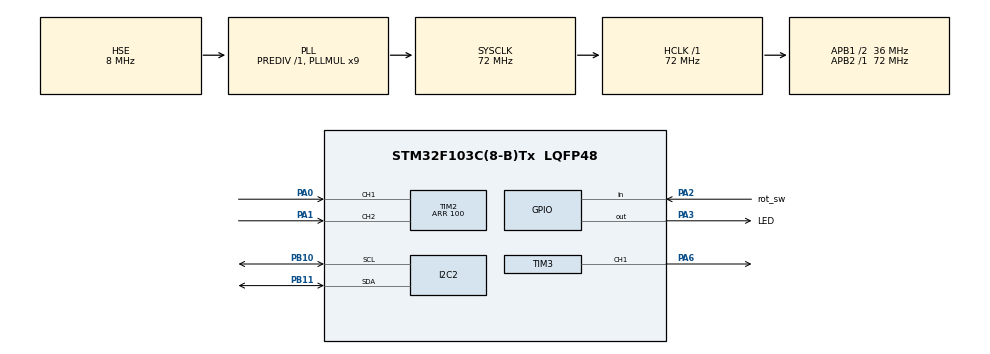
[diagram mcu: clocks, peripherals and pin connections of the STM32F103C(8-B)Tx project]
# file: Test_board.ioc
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I2C2.I2C_Mode=I2C_Fast
Mcu.Family=STM32F1
Mcu.Name=STM32F103C(8-B)Tx
Mcu.Package=LQFP48
NVIC.PriorityGroup=NVIC_PRIORITYGROUP_4
PA0-WKUP.GPIO_PuPd=GPIO_PULLUP
PA0-WKUP.Signal=S_TIM2_CH1_ETR
PA1.GPIO_PuPd=GPIO_PULLUP
PA1.Signal=S_TIM2_CH2
PA2.GPIO_Label=rot_sw
PA2.Signal=GPIO_Input
PA3.GPIO_Label=LED
PA3.Signal=GPIO_Output
PA6.Signal=S_TIM3_CH1
PB10.Mode=I2C
PB10.Signal=I2C2_SCL
PB11.Mode=I2C
PB11.Signal=I2C2_SDA
PD0-OSC_IN.Mode=HSE-External-Oscillator
PD0-OSC_IN.Signal=RCC_OSC_IN
PD1-OSC_OUT.Mode=HSE-External-Oscillator
PD1-OSC_OUT.Signal=RCC_OSC_OUT
ProjectManager.HeapSize=0x200
ProjectManager.StackSize=0x400
ProjectManager.TargetToolchain=STM32CubeIDE
RCC.AHBFreq_Value=72000000
RCC.APB1CLKDivider=RCC_HCLK_DIV2
RCC.APB1Freq_Value=36000000
RCC.APB1TimFreq_Value=72000000
RCC.APB2Freq_Value=72000000
RCC.APB2TimFreq_Value=72000000
RCC.HCLKFreq_Value=72000000
RCC.PLLMUL=RCC_PLL_MUL9
RCC.PLLSourceVirtual=RCC_PLLSOURCE_HSE
RCC.SYSCLKFreq_VALUE=72000000
RCC.SYSCLKSource=RCC_SYSCLKSOURCE_PLLCLK
RCC.USBFreq_Value=72000000
SH.S_TIM2_CH1_ETR.0=TIM2_CH1,Encoder_Interface
SH.S_TIM2_CH2.0=TIM2_CH2,Encoder_Interface
SH.S_TIM3_CH1.0=TIM3_CH1,PWM Generation1 CH1
TIM1.Prescaler=63
TIM2.IC1Filter=15
TIM2.IC2Filter=15
TIM2.Period=100
TIM3.Channel-PWM\ Generation1\ CH1=TIM_CHANNEL_1
TIM3.Period=100
TIM3.Prescaler=72
VP_TIM1_VS_ClockSourceINT.Mode=Internal
board=custom

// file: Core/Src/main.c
/* USER CODE BEGIN Header */
/**
  ******************************************************************************
  * @file           : main.c
  * @brief          : Main program body
  ******************************************************************************
  * @attention
  *
  * Copyright (c) 2023 STMicroelectronics.
  * All rights reserved.
  *
  * This software is licensed under terms that can be found in the LICENSE file
  * in the root directory of this software component.
  * If no LICENSE file comes with this software, it is provided AS-IS.
  *
  ******************************************************************************
  */
/* USER CODE END Header */
#include "main.h"

/* USER CODE BEGIN Includes */

#include "string.h"
#include <stdio.h>
#include "ssd1306.h"
#include "fonts.h"
#include "test.h"
/* USER CODE END Includes */

I2C_HandleTypeDef hi2c2;

TIM_HandleTypeDef htim1;
TIM_HandleTypeDef htim2;
TIM_HandleTypeDef htim3;

void SystemClock_Config(void);
static void MX_GPIO_Init(void);
static void MX_I2C2_Init(void);
static void MX_TIM2_Init(void);
static void MX_TIM1_Init(void);
static void MX_TIM3_Init(void);
/* USER CODE BEGIN PFP */
void MX_I2C2_Init(void);
/* USER CODE END PFP */

/* USER CODE BEGIN 0 */
float temperature;
char string[64];
/* USER CODE END 0 */

int main(void)
{
  /* USER CODE BEGIN 1 */
	uint16_t LED_DutyCycle = 0;
  /* USER CODE END 1 */

  /* MCU Configuration--------------------------------------------------------*/

  /* Reset of all peripherals, Initializes the Flash interface and the Systick. */
  HAL_Init();

  /* Configure the system clock */
  SystemClock_Config();

  /* Initialize all configured peripherals */
  MX_GPIO_Init();
  MX_I2C2_Init();
  MX_TIM2_Init();
  MX_TIM1_Init();
  MX_TIM3_Init();
  /* USER CODE BEGIN 2 */
  HAL_TIM_Encoder_Start(&htim2, TIM_CHANNEL_ALL);
  HAL_TIM_PWM_Start(&htim3, TIM_CHANNEL_1);

  SSD1306_Init (); // initialize the display

  char string[5];
  int num = 0, pastI = 0;

     SSD1306_GotoXY (0,0);
     SSD1306_Puts ("SSD1306", &Font_11x18, 1);
     SSD1306_GotoXY (0, 30);
     SSD1306_Puts ("OLED DEMO", &Font_11x18, 1);
     SSD1306_UpdateScreen();
     HAL_Delay (1000);

     SSD1306_ScrollRight(0,5);
     HAL_Delay(3000);
     SSD1306_ScrollLeft(0,5);
     HAL_Delay(3000);
     SSD1306_Stopscroll();
     SSD1306_Clear();

  /* USER CODE END 2 */

  /* Infinite loop */
  /* USER CODE BEGIN WHILE */
  while (1)
  {
	  LED_DutyCycle = (TIM2->CNT);
	  TIM3->CCR1 = LED_DutyCycle;
	  if(num != pastI)
  		{

  			itoa(num,string, 10);
  			SSD1306_GotoXY (0, 30);
  			SSD1306_Puts ("             ", &Font_16x26, 1);
  			SSD1306_UpdateScreen();
  			if(num<10) {
  				SSD1306_GotoXY (53, 30);  // 1 DIGIT
  			}
  			else if (num<100) {
  				SSD1306_GotoXY (45, 30);  // 2 DIGITS
  			}
  			else  {
  				SSD1306_GotoXY (37, 30);  // 3 DIGITS
  			}
  			SSD1306_Puts (string, &Font_16x26, 1);
  			SSD1306_UpdateScreen();
//	  			HAL_Delay (500);
  		}
	  pastI = num;
	  num = TIM2->CNT;

	  if(HAL_GPIO_ReadPin(rot_sw_GPIO_Port, rot_sw_Pin)==GPIO_PIN_RESET){

	  }else{
	  HAL_GPIO_WritePin(LED_GPIO_Port, LED_Pin, GPIO_PIN_RESET);
  }

    /* USER CODE END WHILE */

  }
}

void SystemClock_Config(void)
{
  RCC_OscInitTypeDef RCC_OscInitStruct = {0};
  RCC_ClkInitTypeDef RCC_ClkInitStruct = {0};

  /** Initializes the RCC Oscillators according to the specified parameters
  * in the RCC_OscInitTypeDef structure.
  */
  RCC_OscInitStruct.OscillatorType = RCC_OSCILLATORTYPE_HSE;
  RCC_OscInitStruct.HSEState = RCC_HSE_ON;
  RCC_OscInitStruct.HSEPredivValue = RCC_HSE_PREDIV_DIV1;
  RCC_OscInitStruct.HSIState = RCC_HSI_ON;
  RCC_OscInitStruct.PLL.PLLState = RCC_PLL_ON;
  RCC_OscInitStruct.PLL.PLLSource = RCC_PLLSOURCE_HSE;
  RCC_OscInitStruct.PLL.PLLMUL = RCC_PLL_MUL9;
  if (HAL_RCC_OscConfig(&RCC_OscInitStruct) != HAL_OK)
  {
    Error_Handler();
  }

  /** Initializes the CPU, AHB and APB buses clocks
  */
  RCC_ClkInitStruct.ClockType = RCC_CLOCKTYPE_HCLK|RCC_CLOCKTYPE_SYSCLK
                              |RCC_CLOCKTYPE_PCLK1|RCC_CLOCKTYPE_PCLK2;
  RCC_ClkInitStruct.SYSCLKSource = RCC_SYSCLKSOURCE_PLLCLK;
  RCC_ClkInitStruct.AHBCLKDivider = RCC_SYSCLK_DIV1;
  RCC_ClkInitStruct.APB1CLKDivider = RCC_HCLK_DIV2;
  RCC_ClkInitStruct.APB2CLKDivider = RCC_HCLK_DIV1;

  if (HAL_RCC_ClockConfig(&RCC_ClkInitStruct, FLASH_LATENCY_2) != HAL_OK)
  {
    Error_Handler();
  }
}

static void MX_I2C2_Init(void)
{

  hi2c2.Instance = I2C2;
  hi2c2.Init.ClockSpeed = 400000;
  hi2c2.Init.DutyCycle = I2C_DUTYCYCLE_2;
  hi2c2.Init.OwnAddress1 = 0;
  hi2c2.Init.AddressingMode = I2C_ADDRESSINGMODE_7BIT;
  hi2c2.Init.DualAddressMode = I2C_DUALADDRESS_DISABLE;
  hi2c2.Init.OwnAddress2 = 0;
  hi2c2.Init.GeneralCallMode = I2C_GENERALCALL_DISABLE;
  hi2c2.Init.NoStretchMode = I2C_NOSTRETCH_DISABLE;
  if (HAL_I2C_Init(&hi2c2) != HAL_OK)
  {
    Error_Handler();
  }

}

static void MX_TIM1_Init(void)
{

  TIM_ClockConfigTypeDef sClockSourceConfig = {0};
  TIM_MasterConfigTypeDef sMasterConfig = {0};

  htim1.Instance = TIM1;
  htim1.Init.Prescaler = 63;
  htim1.Init.CounterMode = TIM_COUNTERMODE_UP;
  htim1.Init.Period = 65535;
  htim1.Init.ClockDivision = TIM_CLOCKDIVISION_DIV1;
  htim1.Init.RepetitionCounter = 0;
  htim1.Init.AutoReloadPreload = TIM_AUTORELOAD_PRELOAD_DISABLE;
  if (HAL_TIM_Base_Init(&htim1) != HAL_OK)
  {
    Error_Handler();
  }
  sClockSourceConfig.ClockSource = TIM_CLOCKSOURCE_INTERNAL;
  if (HAL_TIM_ConfigClockSource(&htim1, &sClockSourceConfig) != HAL_OK)
  {
    Error_Handler();
  }
  sMasterConfig.MasterOutputTrigger = TIM_TRGO_RESET;
  sMasterConfig.MasterSlaveMode = TIM_MASTERSLAVEMODE_DISABLE;
  if (HAL_TIMEx_MasterConfigSynchronization(&htim1, &sMasterConfig) != HAL_OK)
  {
    Error_Handler();
  }

}

static void MX_TIM2_Init(void)
{

  TIM_Encoder_InitTypeDef sConfig = {0};
  TIM_MasterConfigTypeDef sMasterConfig = {0};

  htim2.Instance = TIM2;
  htim2.Init.Prescaler = 0;
  htim2.Init.CounterMode = TIM_COUNTERMODE_UP;
  htim2.Init.Period = 100;
  htim2.Init.ClockDivision = TIM_CLOCKDIVISION_DIV1;
  htim2.Init.AutoReloadPreload = TIM_AUTORELOAD_PRELOAD_DISABLE;
  sConfig.EncoderMode = TIM_ENCODERMODE_TI1;
  sConfig.IC1Polarity = TIM_ICPOLARITY_RISING;
  sConfig.IC1Selection = TIM_ICSELECTION_DIRECTTI;
  sConfig.IC1Prescaler = TIM_ICPSC_DIV1;
  sConfig.IC1Filter = 15;
  sConfig.IC2Polarity = TIM_ICPOLARITY_RISING;
  sConfig.IC2Selection = TIM_ICSELECTION_DIRECTTI;
  sConfig.IC2Prescaler = TIM_ICPSC_DIV1;
  sConfig.IC2Filter = 15;
  if (HAL_TIM_Encoder_Init(&htim2, &sConfig) != HAL_OK)
  {
    Error_Handler();
  }
  sMasterConfig.MasterOutputTrigger = TIM_TRGO_RESET;
  sMasterConfig.MasterSlaveMode = TIM_MASTERSLAVEMODE_DISABLE;
  if (HAL_TIMEx_MasterConfigSynchronization(&htim2, &sMasterConfig) != HAL_OK)
  {
    Error_Handler();
  }

}

static void MX_TIM3_Init(void)
{

  TIM_MasterConfigTypeDef sMasterConfig = {0};
  TIM_OC_InitTypeDef sConfigOC = {0};

  htim3.Instance = TIM3;
  htim3.Init.Prescaler = 72;
  htim3.Init.CounterMode = TIM_COUNTERMODE_UP;
  htim3.Init.Period = 100;
  htim3.Init.ClockDivision = TIM_CLOCKDIVISION_DIV1;
  htim3.Init.AutoReloadPreload = TIM_AUTORELOAD_PRELOAD_DISABLE;
  if (HAL_TIM_PWM_Init(&htim3) != HAL_OK)
  {
    Error_Handler();
  }
  sMasterConfig.MasterOutputTrigger = TIM_TRGO_RESET;
  sMasterConfig.MasterSlaveMode = TIM_MASTERSLAVEMODE_DISABLE;
  if (HAL_TIMEx_MasterConfigSynchronization(&htim3, &sMasterConfig) != HAL_OK)
  {
    Error_Handler();
  }
  sConfigOC.OCMode = TIM_OCMODE_PWM1;
  sConfigOC.Pulse = 0;
  sConfigOC.OCPolarity = TIM_OCPOLARITY_HIGH;
  sConfigOC.OCFastMode = TIM_OCFAST_DISABLE;
  if (HAL_TIM_PWM_ConfigChannel(&htim3, &sConfigOC, TIM_CHANNEL_1) != HAL_OK)
  {
    Error_Handler();
  }
  HAL_TIM_MspPostInit(&htim3);

}

static void MX_GPIO_Init(void)
{
  GPIO_InitTypeDef GPIO_InitStruct = {0};

  /* GPIO Ports Clock Enable */
  __HAL_RCC_GPIOD_CLK_ENABLE();
  __HAL_RCC_GPIOA_CLK_ENABLE();
  __HAL_RCC_GPIOB_CLK_ENABLE();

  /*Configure GPIO pin Output Level */
  HAL_GPIO_WritePin(LED_GPIO_Port, LED_Pin, GPIO_PIN_RESET);

  /*Configure GPIO pin : rot_sw_Pin */
  GPIO_InitStruct.Pin = rot_sw_Pin;
  GPIO_InitStruct.Mode = GPIO_MODE_INPUT;
  GPIO_InitStruct.Pull = GPIO_NOPULL;
  HAL_GPIO_Init(rot_sw_GPIO_Port, &GPIO_InitStruct);

  /*Configure GPIO pin : LED_Pin */
  GPIO_InitStruct.Pin = LED_Pin;
  GPIO_InitStruct.Mode = GPIO_MODE_OUTPUT_PP;
  GPIO_InitStruct.Pull = GPIO_NOPULL;
  GPIO_InitStruct.Speed = GPIO_SPEED_FREQ_LOW;
  HAL_GPIO_Init(LED_GPIO_Port, &GPIO_InitStruct);

}

void Error_Handler(void)
{
  __disable_irq();
  while (1)
  {
  }
}
